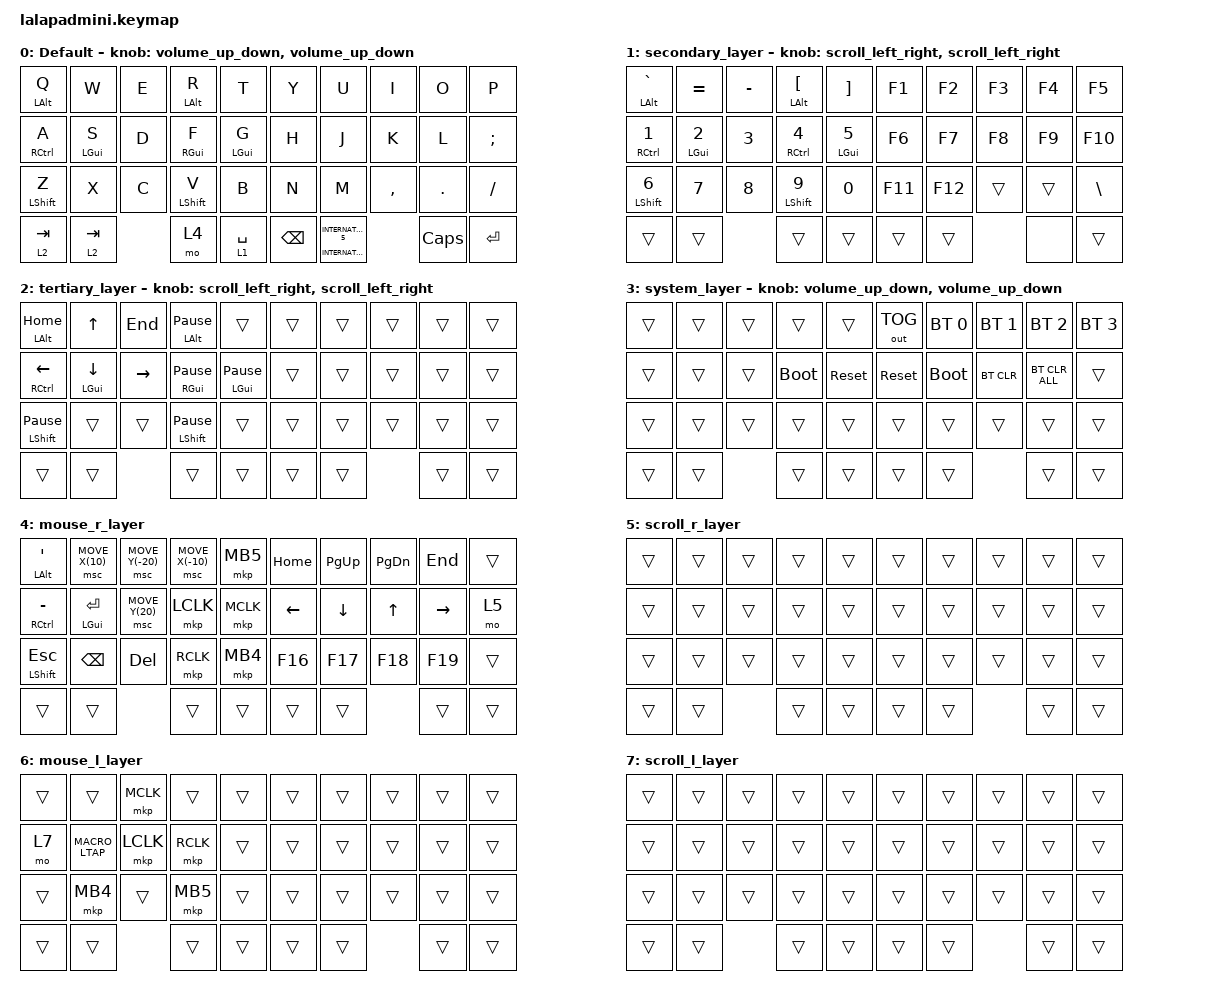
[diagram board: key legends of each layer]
#include <input/processors.dtsi>
#include <behaviors.dtsi>
#include <dt-bindings/zmk/bt.h>
#include <dt-bindings/zmk/keys.h>
#include <dt-bindings/zmk/outputs.h>
#include <dt-bindings/zmk/pointing.h>

#define DEFAULT_LAYER   0
#define SECONDARY_LAYER 1
#define TERTIARY_LAYER  2
#define SYSTEM_LAYER    3
#define MOUSE_R_LAYER   4
#define SCROLL_R_LAYER  5
#define MOUSE_L_LAYER   6
#define SCROLL_L_LAYER  7

// Mouse Scroll Value

#define ZMK_POINTING_DEFAULT_SCRL_VAL 100

// cirque trackpad input&layer control

&glidepoint_listener_R {
    input-processors =
        <&zip_xy_transform (INPUT_TRANSFORM_XY_SWAP | INPUT_TRANSFORM_X_INVERT | INPUT_TRANSFORM_Y_INVERT)>,
        <&zip_xy_scaler 3 2>;

    //,
    //<&zip_temp_layer MOUSE_R_LAYER 300>;

    lowspeedmode {
        layers = <SECONDARY_LAYER>;
        input-processors =
            <&zip_xy_transform (INPUT_TRANSFORM_XY_SWAP | INPUT_TRANSFORM_X_INVERT | INPUT_TRANSFORM_Y_INVERT)>,
            <&zip_xy_scaler 3 5>;

        //,
        //<&zip_temp_layer MOUSE_R_LAYER 300>;
    };

    scroller {
        layers = <SCROLL_R_LAYER>;
        input-processors =
            <&zip_xy_to_scroll_mapper>,
            <&zip_scroll_transform (INPUT_TRANSFORM_XY_SWAP | INPUT_TRANSFORM_Y_INVERT)>,
            <&zip_scroll_scaler 1 32>;
    };
};

&glidepoint_listener_L {
    input-processors =
        <&zip_xy_transform (INPUT_TRANSFORM_XY_SWAP | INPUT_TRANSFORM_X_INVERT | INPUT_TRANSFORM_Y_INVERT)>,
        <&zip_xy_scaler 3 2>,
        <&zip_temp_layer MOUSE_L_LAYER 300>;

    lowspeedmode {
        layers = <TERTIARY_LAYER>;
        input-processors =
            <&zip_xy_transform (INPUT_TRANSFORM_XY_SWAP | INPUT_TRANSFORM_X_INVERT | INPUT_TRANSFORM_Y_INVERT)>,
            <&zip_xy_scaler 3 4>,
            <&zip_temp_layer MOUSE_L_LAYER 300>;
    };

    scroller {
        layers = <SCROLL_L_LAYER>;
        input-processors =
            <&zip_xy_to_scroll_mapper>,
            <&zip_scroll_transform (INPUT_TRANSFORM_XY_SWAP | INPUT_TRANSFORM_Y_INVERT)>,
            <&zip_scroll_scaler 1 32>;
    };
};

&mt {
    quick-tap-ms = <200>;
    flavor = "balanced";
};

&lt { quick-tap-ms = <200>; };

/ {
    behaviors {
        // Encoder to Mouse Scroll

        scroll_up_down: behavior_sensor_rotate_mouse_wheel_up_down {
            compatible = "zmk,behavior-sensor-rotate";
            #sensor-binding-cells = <0>;
            bindings = <&msc SCRL_UP>, <&msc SCRL_DOWN>;

            tap-ms = <20>;
        };

        scroll_down_up: behavior_sensor_rotate_mouse_wheel_down_up {
            compatible = "zmk,behavior-sensor-rotate";
            #sensor-binding-cells = <0>;
            bindings = <&msc SCRL_DOWN>, <&msc SCRL_UP>;

            tap-ms = <20>;
        };

        scroll_left_right: behavior_sensor_rotate_mouse_wheel_left_right {
            compatible = "zmk,behavior-sensor-rotate";
            #sensor-binding-cells = <0>;
            bindings = <&msc SCRL_LEFT>, <&msc SCRL_RIGHT>;

            tap-ms = <20>;
        };

        scroll_right_left: behavior_sensor_rotate_mouse_wheel_right_left {
            compatible = "zmk,behavior-sensor-rotate";
            #sensor-binding-cells = <0>;
            bindings = <&msc SCRL_RIGHT>, <&msc SCRL_LEFT>;

            tap-ms = <20>;
        };

        volume_up_down: behavior_sensor_rotate_volume_up_down {
            compatible = "zmk,behavior-sensor-rotate";
            #sensor-binding-cells = <0>;
            bindings = <&kp C_VOLUME_UP>, <&kp C_VOLUME_DOWN>;

            tap-ms = <20>;
        };

        mt2: mod_tap2 {
            compatible = "zmk,behavior-hold-tap";
            #binding-cells = <2>;
            flavor = "tap-preferred";
            tapping-term-ms = <200>;
            quick-tap-ms = <200>;
            require-prior-idle-ms = <125>;
            bindings = <&kp>, <&kp>;
        };

        tap_dance_layer_1and2: tap_dance_layer_1and2 {
            compatible = "zmk,behavior-tap-dance";
            label = "td_mo12";
            #binding-cells = <0>;
            bindings = <&mo 1>, <&mo 2>;
        };
    };

    combos {
        compatible = "zmk,combos";

        CONBO_ESC {
            bindings = <&kp ESCAPE>;
            key-positions = <0 1>;
        };

        COMBO_TAB {
            bindings = <&kp TAB>;
            key-positions = <10 11>;
        };

        COMBO_WIN {
            bindings = <&kp LWIN>;
            key-positions = <30 31>;
        };

        ToBtLayer {
            bindings = <&to 3>;
            key-positions = <36 37>;
        };
    };

    macros {
        MACRO_LTAP: MACRO_LTAP {
            compatible = "zmk,behavior-macro";
            #binding-cells = <0>;
            bindings = <&mkp LCLK>;
            label = "MACRO_LTAP";
        };
    };

    keymap {
        compatible = "zmk,keymap";

        DEFAULT_LAYER {
            display-name = "Default";
            sensor-bindings = <&volume_up_down>, <&volume_up_down>;

            bindings = <
&mt LEFT_ALT Q    &kp W           &kp E  &mt LEFT_ALT R    &kp T           &kp Y          &kp U                                &kp I      &kp O       &kp P
&mt RCTRL A       &mt LEFT_GUI S  &kp D  &mt RIGHT_GUI F   &mt LEFT_GUI G  &kp H          &kp J                                &kp K      &kp L       &kp SEMI
&mt LEFT_SHIFT Z  &kp X           &kp C  &mt LEFT_SHIFT V  &kp B           &kp N          &kp M                                &kp COMMA  &kp PERIOD  &kp SLASH
&lt 2 TAB         &lt 2 TAB              &mo 4             &lt 1 SPACE     &kp BACKSPACE  &mt INTERNATIONAL_4 INTERNATIONAL_5             &kp CLCK    &kp ENTER
            >;
        };

        SECONDARY_LAYER {
            display-name = "secondary_layer";
            sensor-bindings = <&scroll_left_right>, <&scroll_left_right>;

            bindings = <
&mt LEFT_ALT GRAVE   &kp EQUAL           &kp MINUS     &mt2 LALT LEFT_BRACKET      &kp RIGHT_BRACKET  &kp F1   &kp F2   &kp F3  &kp F4  &kp F5
&mt2 RCTRL NUMBER_1  &mt2 LGUI NUMBER_2  &kp NUMBER_3  &mt RIGHT_CONTROL NUMBER_4  &mt LGUI NUMBER_5  &kp F6   &kp F7   &kp F8  &kp F9  &kp F10
&mt LSHIFT NUMBER_6  &kp NUMBER_7        &kp NUMBER_8  &mt LSHIFT NUMBER_9         &kp NUMBER_0       &kp F11  &kp F12  &trans  &trans  &kp BACKSLASH
&trans               &trans                            &trans                      &trans             &trans   &trans           &none   &trans
            >;
        };

        TERTIARY_LAYER {
            display-name = "tertiary_layer";
            bindings = <
&mt LEFT_ALT HOME           &kp UP_ARROW         &kp END    &mt LEFT_ALT PAUSE_BREAK   &trans                    &trans  &trans  &trans  &trans  &trans
&mt RIGHT_CONTROL LEFT      &mt LGUI DOWN_ARROW  &kp RIGHT  &mt RIGHT_GUI PAUSE_BREAK  &mt LEFT_GUI PAUSE_BREAK  &trans  &trans  &trans  &trans  &trans
&mt LEFT_SHIFT PAUSE_BREAK  &trans               &trans     &mt LSHIFT PAUSE_BREAK     &trans                    &trans  &trans  &trans  &trans  &trans
&trans                      &trans                          &trans                     &trans                    &trans  &trans          &trans  &trans
            >;

            sensor-bindings = <&scroll_left_right>, <&scroll_left_right>;
        };

        SYSTEM_LAYER {
            display-name = "system_layer";
            sensor-bindings = <&volume_up_down>, <&volume_up_down>;

            bindings = <
&trans  &trans  &trans  &trans       &trans      &out OUT_TOG  &bt BT_SEL 0  &bt BT_SEL 1  &bt BT_SEL 2    &bt BT_SEL 3
&trans  &trans  &trans  &bootloader  &sys_reset  &sys_reset    &bootloader   &bt BT_CLR    &bt BT_CLR_ALL  &trans
&trans  &trans  &trans  &trans       &trans      &trans        &trans        &trans        &trans          &trans
&trans  &trans          &trans       &trans      &trans        &trans                      &trans          &trans
            >;
        };

        MOUSE_R_LAYER {
            display-name = "mouse_r_layer";
            bindings = <
&mt LALT SINGLE_QUOTE    &msc MOVE_X(10)  &msc MOVE_Y(-20)  &msc MOVE_X(-10)  &mkp MB5   &kp HOME        &kp PG_UP       &kp PAGE_DOWN  &kp END    &trans
&mt RIGHT_CONTROL MINUS  &mt LGUI ENTER   &msc MOVE_Y(20)   &mkp LCLK         &mkp MCLK  &kp LEFT_ARROW  &kp DOWN_ARROW  &kp UP_ARROW   &kp RIGHT  &mo 5
&mt LSHIFT ESCAPE        &kp BACKSPACE    &kp DELETE        &mkp RCLK         &mkp MB4   &kp F16         &kp F17         &kp F18        &kp F19    &trans
&trans                   &trans                             &trans            &trans     &trans          &trans                         &trans     &trans
            >;
        };

        SCROLL_R_LAYER {
            display-name = "scroll_r_layer";
            bindings = <
&trans  &trans  &trans  &trans  &trans  &trans  &trans  &trans  &trans  &trans
&trans  &trans  &trans  &trans  &trans  &trans  &trans  &trans  &trans  &trans
&trans  &trans  &trans  &trans  &trans  &trans  &trans  &trans  &trans  &trans
&trans  &trans          &trans  &trans  &trans  &trans          &trans  &trans
            >;
        };

        MOUSE_L_LAYER {
            display-name = "mouse_l_layer";
            bindings = <
&trans  &trans       &mkp MCLK  &trans     &trans  &trans  &trans  &trans  &trans  &trans
&mo 7   &MACRO_LTAP  &mkp LCLK  &mkp RCLK  &trans  &trans  &trans  &trans  &trans  &trans
&trans  &mkp MB4     &trans     &mkp MB5   &trans  &trans  &trans  &trans  &trans  &trans
&trans  &trans                  &trans     &trans  &trans  &trans          &trans  &trans
            >;
        };

        SCROLL_L_LAYER {
            display-name = "scroll_l_layer";
            bindings = <
&trans  &trans  &trans  &trans  &trans  &trans  &trans  &trans  &trans  &trans
&trans  &trans  &trans  &trans  &trans  &trans  &trans  &trans  &trans  &trans
&trans  &trans  &trans  &trans  &trans  &trans  &trans  &trans  &trans  &trans
&trans  &trans          &trans  &trans  &trans  &trans          &trans  &trans
            >;
        };
    };

    conditional_layers {
        compatible = "zmk,conditional-layers";

        System_layer {
            if-layers = <1 2>;
            then-layer = <3>;
        };
    };
};
